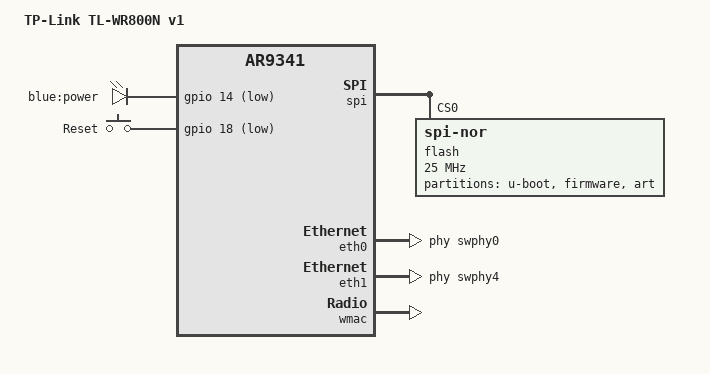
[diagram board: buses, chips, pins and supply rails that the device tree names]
// SPDX-License-Identifier: GPL-2.0-or-later OR MIT

#include "ar9341.dtsi"
#include <dt-bindings/gpio/gpio.h>
#include <dt-bindings/input/input.h>

/ {
	model = "TP-Link TL-WR800N v1";
	compatible = "tplink,tl-wr800n-v1", "qca,ar9341";

	aliases {
		led-boot = &led_power;
		led-failsafe = &led_power;
		led-running = &led_power;
		led-upgrade = &led_power;
		label-mac-device = &wmac;
	};

	leds: leds {
		compatible = "gpio-leds";

		led_power: power {
			label = "blue:power";
			gpios = <&gpio 14 GPIO_ACTIVE_LOW>;
			default-state = "on";
		};
	};

	keys {
		compatible = "gpio-keys";

		reset {
			label = "Reset";
			linux,code = <KEY_RESTART>;
			gpios = <&gpio 18 GPIO_ACTIVE_LOW>;
			debounce-interval = <60>;
		};
	};
};

&spi {
	status = "okay";

	flash@0 {
		compatible = "jedec,spi-nor";
		reg = <0>;
		spi-max-frequency = <25000000>;

		partitions {
			compatible = "fixed-partitions";
			#address-cells = <1>;
			#size-cells = <1>;

			uboot: partition@0 {
				label = "u-boot";
				reg = <0x000000 0x020000>;
				read-only;

				nvmem-layout {
					compatible = "fixed-layout";
					#address-cells = <1>;
					#size-cells = <1>;

					macaddr_uboot_1fc00: macaddr@1fc00 {
						compatible = "mac-base";
						reg = <0x1fc00 0x6>;
						#nvmem-cell-cells = <1>;
					};
				};
			};

			partition@20000 {
				compatible = "tplink,firmware";
				label = "firmware";
				reg = <0x020000 0x7d0000>;
			};

			art: partition@7f0000 {
				label = "art";
				reg = <0x7f0000 0x010000>;
				read-only;
			};
		};
	};
};

&ref {
	clock-frequency = <25000000>;
};

&eth0 {
	status = "okay";
	phy-handle = <&swphy0>;
	nvmem-cells = <&macaddr_uboot_1fc00 (-1)>;
	nvmem-cell-names = "mac-address";
};

&eth1 {
	status = "okay";
	phy-handle = <&swphy4>;
	nvmem-cells = <&macaddr_uboot_1fc00 0>;
	nvmem-cell-names = "mac-address";

	gmac-config {
		device = <&gmac>;
		switch-phy-swap = <1>;
	};
};

&wmac {
	status = "okay";
	mtd-cal-data = <&art 0x1000>;
	nvmem-cells = <&macaddr_uboot_1fc00 0>;
	nvmem-cell-names = "mac-address";
};
